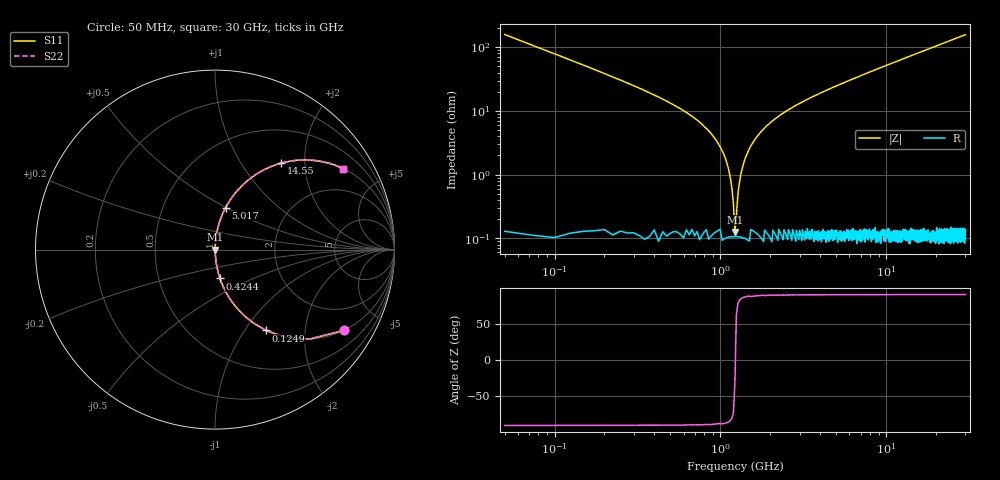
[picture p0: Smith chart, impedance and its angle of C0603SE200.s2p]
!	AVX Thin Film Operation 	Date: April 2014
!	Description: Accu-P® Series, Thin Film  SMD RF Capacitor
!	Part Number: 06033J200FBSTR
# MHZ S MA R 50
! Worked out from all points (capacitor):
!   1201 points, 50 MHz to 30 GHz, reference 50 ohm
!   read as one part in series: C = 20 pF near 199.8 MHz
!   lowest |Z| = 126 mohm at 1.223 GHz (marker M1)
!   series resonance near 1.229 GHz, so ESL is about 840 pH
!   S11 on the Smith chart (normalised r, x): 50 MHz: 1.00, -3.18; 124.9 MHz: 1.00, -1.26; 424.4 MHz: 1.00, -0.33; 5.017 GHz: 1.00, +0.50; 14.55 GHz: 1.00, +1.52; 30 GHz: 1.00, +3.15
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50  0.846 -32.2  0.532 57.8  0.532 57.8  0.846 -32.2
124.875  0.533 -57.7  0.845 32.2  0.845 32.2  0.533 -57.7
249.667  0.292 -72.8  0.955 17.0  0.955 17.0  0.292 -72.8
424.375  0.163 -80.2  0.986 9.4  0.986 9.4  0.163 -80.2
898.583  0.041 -86.1  0.998 2.4  0.998 2.4  0.041 -86.1
1023.375  0.024 -85.9  0.999 1.4  0.999 1.4  0.024 -85.9
1123.208  0.012 -83.8  0.999 0.7  0.999 0.7  0.012 -83.8
1223.042  0.00132 -30.3  0.999 0.0  0.999 0.0  0.00132 -30.3
1322.875  0.009555 82.6  0.999 -0.5  0.999 -0.5  0.009555 82.6
1472.625  0.023 85.9  0.999 -1.3  0.999 -1.3  0.023 85.9
1622.375  0.036 86.1  0.998 -2.1  0.998 -2.1  0.036 86.1
1871.958  0.056 85.6  0.997 -3.2  0.997 -3.2  0.056 85.6
2171.458  0.077 84.7  0.996 -4.4  0.996 -4.4  0.077 84.7
3269.625  0.146 81.2  0.988 -8.4  0.988 -8.4  0.146 81.2
5016.708  0.241 75.8  0.969 -13.9  0.969 -13.9  0.241 75.8
5041.667  0.242 75.7  0.969 -14.0  0.969 -14.0  0.242 75.7
10058.29  0.462 62.4  0.886 -27.5  0.886 -27.5  0.462 62.4
14550.79  0.605 52.7  0.795 -37.2  0.795 -37.2  0.605 52.7
15025  0.617 51.8  0.786 -38.1  0.786 -38.1  0.617 51.8
20016.67  0.724 43.6  0.689 -46.4  0.689 -46.4  0.724 43.6
25033.29  0.796 37.2  0.605 -52.7  0.605 -52.7  0.796 37.2
30000  0.844 32.4  0.535 -57.6  0.535 -57.6  0.844 32.4
